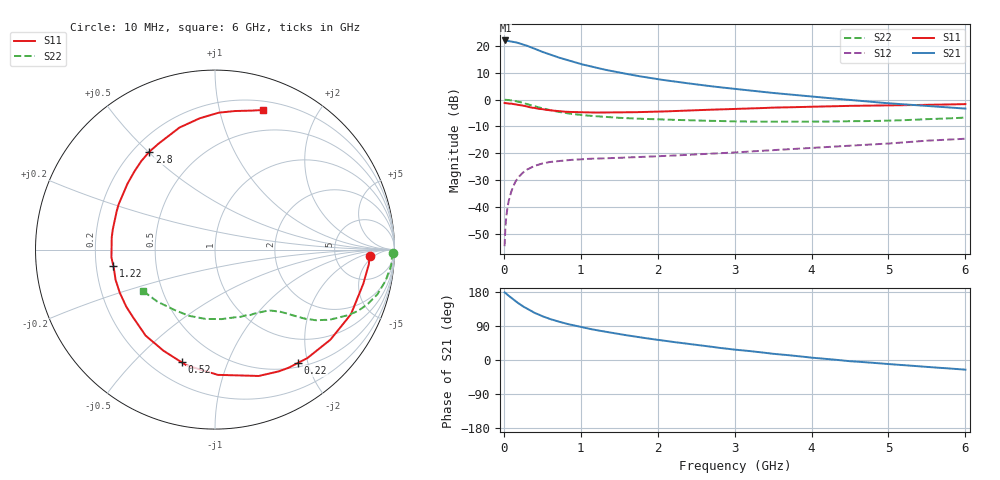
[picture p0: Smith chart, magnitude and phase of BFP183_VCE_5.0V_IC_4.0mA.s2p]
! Infineon Technologies  Discrete & RF Semiconductors
! BFP183
! VCE = 5.0 V,  IC =  4.0 mA
! Common Emitter S-Parameters:  Jan 2016
# GHz  S  MA  R  50
!  f  S11  S21  S12  S22
! GHz  MAG  ANG  MAG  ANG  MAG  ANG  MAG  ANG
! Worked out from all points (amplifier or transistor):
!   210 points, 10 MHz to 6 GHz, reference 50 ohm
!   highest |S21| = 21.9 dB at 20 MHz (marker M1)
!   |S21| within 3 dB of that: start of sweep to 394.5 MHz
!   unconditionally stable (mu >= 1): 1.696 GHz to 5.796 GHz
!   at 185 MHz: K = 0.14, MSG = 25.1 dB, |S12| = -29.1 dB
!   at 1.52 GHz: K = 0.91, MSG = 15.8 dB, |S12| = -21.6 dB
!   at 6 GHz: K = 0.95, MSG = 5.6 dB, |S12| = -14.5 dB
!   S11 on the Smith chart (normalised r, x): 10 MHz: 12, -4; 220 MHz: 0.56, -1.84; 520 MHz: 0.32, -0.70; 1.22 GHz: 0.27, -0.07; 2.8 GHz: 0.26, +0.50; 6 GHz: 0.28, +1.36
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0.01  0.8617 -2.5  12.32 178.4  0.0019 84.0  0.9941 -1.0
0.02  0.8609 -5.4  12.49 177.0  0.0042 87.8  0.9874 -2.1
0.04  0.8507 -10.4  12.36 173.4  0.0084 86.2  0.9855 -4.2
0.065  0.8411 -16.6  12.17 169.2  0.0134 81.2  0.9785 -6.8
0.15  0.8157 -38.0  11.63 155.4  0.0297 69.2  0.9385 -15.4
0.2  0.7938 -49.6  11.11 148.1  0.0375 64.6  0.9045 -19.5
0.22  0.7826 -53.8  10.84 145.5  0.0402 62.2  0.8888 -21.0
0.3  0.7451 -70.9  9.981 135.5  0.05 54.5  0.8239 -26.4
0.4  0.6981 -88.7  8.782 124.3  0.0588 47.1  0.7497 -31.4
0.52  0.6548 -106.5  7.513 114.2  0.0659 40.5  0.6774 -35.4
0.6  0.6323 -117.0  6.887 108.2  0.0694 37.6  0.6371 -37.3
0.7  0.6157 -128.9  6.102 101.9  0.072 34.2  0.5948 -39.0
0.8  0.5944 -138.8  5.539 96.3  0.0742 31.7  0.5632 -40.4
1.02  0.5809 -157.1  4.489 86.2  0.0779 28.4  0.5151 -42.8
1.22  0.5738 -170.8  3.829 78.3  0.0804 26.3  0.4873 -44.9
1.5  0.5793 173.3  3.174 68.2  0.0828 25.8  0.4575 -47.9
2.02  0.5975 149.8  2.363 52.7  0.0889 25.9  0.4286 -54.9
2.8  0.6567 123.8  1.694 32.1  0.1004 27.4  0.4009 -69.1
3.1  0.6742 115.6  1.526 25.5  0.1064 28.2  0.3914 -75.6
4.1  0.7408 94.9  1.105 4.5  0.1294 27.3  0.3894 -100.6
5.1  0.7827 80.7  0.834 -12.1  0.1565 25.0  0.4098 -127.6
6  0.8227 71.0  0.679 -25.5  0.1873 18.7  0.4626 -150.1
